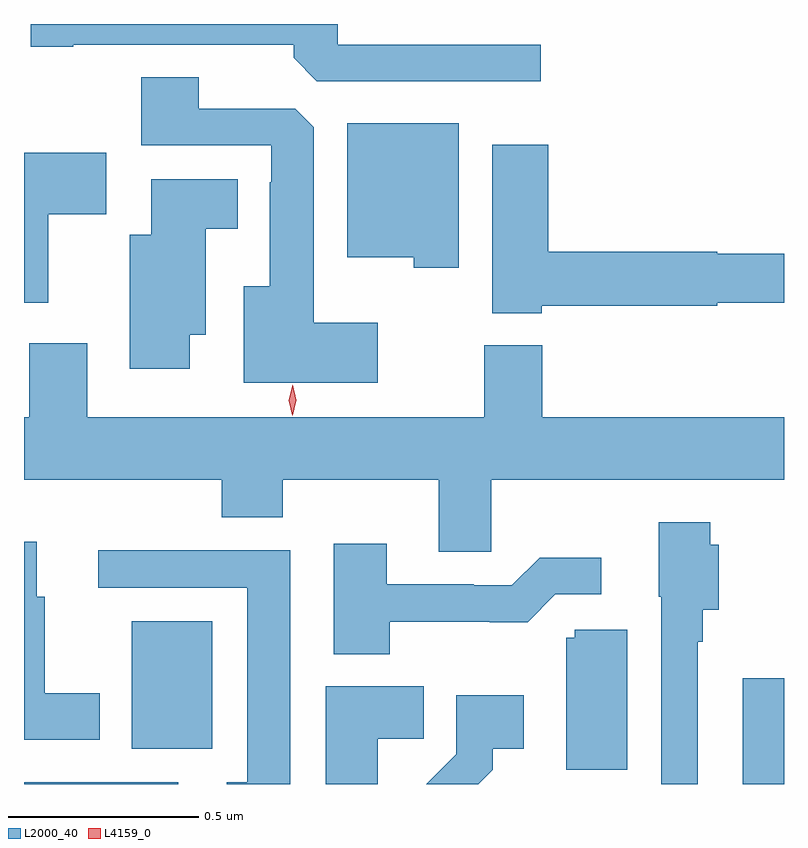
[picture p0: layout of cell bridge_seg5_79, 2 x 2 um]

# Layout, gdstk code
import gdstk
lib = gdstk.Library(unit=1e-6, precision=1e-09)
def R(c, l, rs):  # rectangles x0, y0, x1, y1
    for r in rs: c.add(gdstk.rectangle(r[:2], r[2:], *l))
def P(c, l, *ps):  # polygons
    for p in ps: c.add(gdstk.Polygon(p, *l))
L2000_40 = (2000, 40)
L4159_0 = (4159, 0)

bridge_seg5_79 = lib.new_cell('bridge_seg5_79')
R(bridge_seg5_79, L2000_40, [(129.708,889.259,130.114,889.263), (131.6,889.259,131.708,889.537), (129.992,889.352,130.204,889.687)])
P(bridge_seg5_79, L2000_40, [(131.068,891.204),(130.533,891.204),(130.533,891.259),(129.726,891.259),(129.726,891.199),(129.838,891.199),(129.838,891.204),(130.418,891.204),(130.418,891.17),(130.479,891.108),(131.068,891.108)],
  [(130.639,890.473),(130.471,890.473),(130.471,890.987),(130.422,891.036),(130.168,891.036),(130.168,891.119),(130.016,891.119),(130.016,890.94),(130.359,890.94),(130.359,890.843),(130.355,890.843),(130.355,890.569),(130.286,890.569),(130.286,890.315),(130.639,890.315)],
  [(130.852,890.998),(130.559,890.998),(130.559,890.645),(130.734,890.645),(130.734,890.618),(130.852,890.618)],
  [(131.07,890.518),(131.532,890.518),(131.532,890.526),(131.708,890.526),(131.708,890.654),(131.532,890.654),(131.532,890.66),(131.087,890.66),(131.087,890.941),(130.94,890.941),(130.94,890.498),(131.07,890.498)],
  [(129.772,890.758),(129.925,890.758),(129.925,890.92),(129.708,890.92),(129.708,890.525),(129.772,890.525)],
  [(130.144,890.441),(130.186,890.441),(130.186,890.72),(130.27,890.72),(130.27,890.851),(130.043,890.851),(130.043,890.704),(129.986,890.704),(129.986,890.352),(130.144,890.352)],
  [(130.938,890.06),(131.708,890.06),(131.708,890.224),(131.072,890.224),(131.072,890.413),(130.919,890.413),(130.919,890.224),(129.874,890.224),(129.874,890.419),(129.722,890.419),(129.722,890.224),(129.708,890.224),(129.708,890.06),(130.229,890.06),(130.229,889.961),(130.389,889.961),(130.389,890.06),(130.799,890.06),(130.799,889.87),(130.938,889.87)],
  [(131.481,889.634),(131.494,889.634),(131.494,889.718),(131.536,889.718),(131.536,889.888),(131.514,889.888),(131.514,889.948),(131.378,889.948),(131.378,889.752),(131.385,889.752),(131.385,889.259),(131.481,889.259)],
  [(129.907,889.498),(129.763,889.498),(129.763,889.752),(129.742,889.752),(129.742,889.897),(129.708,889.897),(129.708,889.376),(129.907,889.376)],
  [(130.671,889.686),(130.934,889.686),(130.934,889.685),(131.033,889.685),(131.106,889.758),(131.227,889.758),(131.227,889.855),(131.065,889.855),(130.992,889.782),(130.892,889.782),(130.892,889.785),(130.663,889.785),(130.663,889.891),(130.523,889.891),(130.523,889.601),(130.671,889.601)],
  [(130.408,889.874),(129.903,889.874),(129.903,889.776),(130.295,889.776),(130.295,889.264),(130.241,889.264),(130.241,889.259),(130.408,889.259)],
  [(131.296,889.665),(131.157,889.665),(131.157,889.644),(131.135,889.644),(131.135,889.296),(131.296,889.296)],
  [(130.639,889.378),(130.76,889.378),(130.76,889.516),(130.502,889.516),(130.502,889.259),(130.639,889.259)],
  [(130.942,889.297),(130.942,889.352),(131.023,889.352),(131.023,889.492),(130.845,889.492),(130.845,889.337),(130.767,889.259),(130.904,889.259)])
P(bridge_seg5_79, L4159_0, [(130.414,890.229),(130.414,890.229),(130.405,890.269),(130.415,890.31),(130.415,890.31),(130.415,890.31),(130.425,890.269),(130.415,890.229)])

lib.write_gds('bridge_seg5_79.gds')
